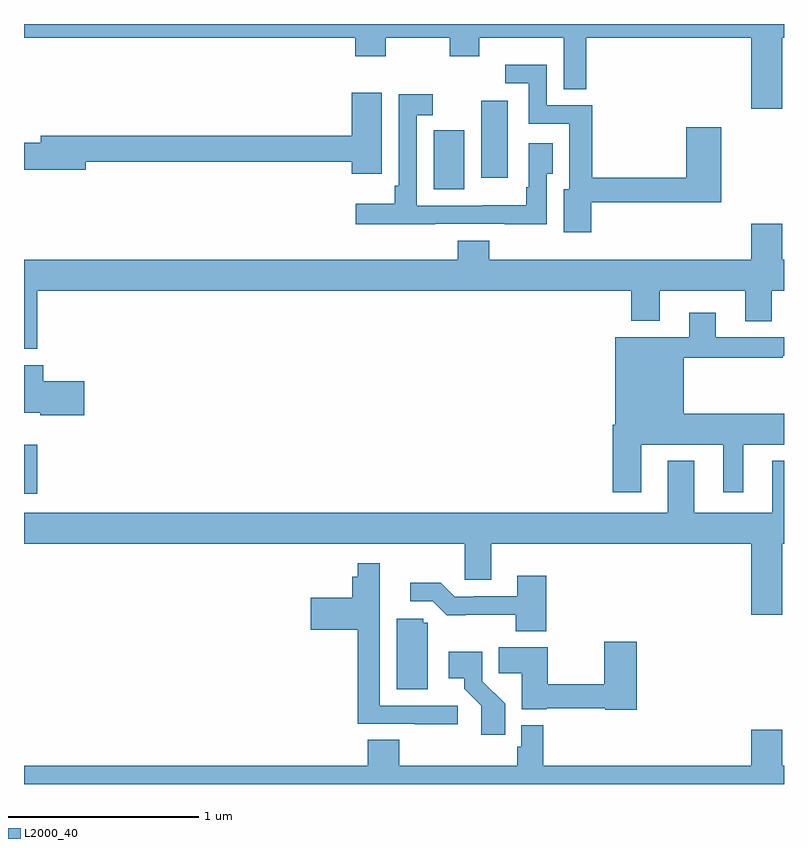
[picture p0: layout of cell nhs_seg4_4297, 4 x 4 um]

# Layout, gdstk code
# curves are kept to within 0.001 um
import gdstk
lib = gdstk.Library(unit=1e-6, precision=1e-09)
def R(c, l, rs):  # rectangles x0, y0, x1, y1
    for r in rs: c.add(gdstk.rectangle(r[:2], r[2:], *l))
def P(c, l, *ps):  # polygons
    for p in ps: c.add(gdstk.Polygon(p, *l))
L2000_40 = (2000, 40)

nhs_seg4_4297 = lib.new_cell('nhs_seg4_4297')
R(nhs_seg4_4297, L2000_40, [(341,786.428,341.071,786.685), (343.157,788.029,343.318,788.34), (343.406,788.091,343.546,788.497)])
P(nhs_seg4_4297, L2000_40, [(344.992,788.828),(345,788.828),(345,788.9),(341,788.9),(341,788.828),(342.743,788.828),(342.743,788.729),(342.903,788.729),(342.903,788.828),(343.24,788.828),(343.24,788.729),(343.395,788.729),(343.395,788.828),(343.841,788.828),(343.841,788.557),(343.96,788.557),(343.96,788.828),(344.828,788.828),(344.828,788.454),(344.992,788.454)],
  [(343.985,787.962),(344.669,787.962),(344.669,788.356),(344.486,788.356),(344.486,788.09),(343.99,788.09),(343.99,788.472),(343.752,788.472),(343.752,788.686),(343.533,788.686),(343.533,788.589),(343.656,788.589),(343.656,788.376),(343.871,788.376),(343.871,788.031),(343.841,788.031),(343.841,787.803),(343.985,787.803)],
  [(342.883,788.539),(342.725,788.539),(342.725,788.312),(341.087,788.312),(341.087,788.276),(341,788.276),(341,788.134),(341.326,788.134),(341.326,788.176),(342.725,788.176),(342.725,788.112),(342.883,788.112)],
  [(343.165,787.848),(343.531,787.848),(343.531,787.847),(343.752,787.847),(343.752,788.113),(343.783,788.113),(343.783,788.272),(343.656,788.272),(343.656,788.041),(343.644,788.041),(343.644,787.945),(343.414,787.945),(343.414,787.944),(343.068,787.944),(343.068,788.421),(343.15,788.421),(343.15,788.53),(342.972,788.53),(342.972,788.05),(342.952,788.05),(342.952,787.954),(342.747,787.954),(342.747,787.847),(343.165,787.847)],
  [(341.069,787.496),(344.195,787.496),(344.195,787.337),(344.347,787.337),(344.347,787.496),(344.795,787.496),(344.795,787.336),(344.935,787.336),(344.935,787.496),(345,787.496),(345,787.66),(344.992,787.66),(344.992,787.849),(344.828,787.849),(344.828,787.66),(343.448,787.66),(343.448,787.759),(343.283,787.759),(343.283,787.66),(341,787.66),(341,787.19),(341.069,787.19)],
  [(344.248,786.686),(344.681,786.686),(344.681,786.435),(344.785,786.435),(344.785,786.686),(345,786.686),(345,786.85),(344.473,786.85),(344.473,787.143),(344.993,787.143),(344.993,787.155),(345,787.155),(345,787.251),(344.641,787.251),(344.641,787.381),(344.501,787.381),(344.501,787.252),(344.111,787.252),(344.111,786.79),(344.099,786.79),(344.099,786.435),(344.248,786.435)],
  [(341.317,787.02),(341.102,787.02),(341.102,787.105),(341,787.105),(341,786.854),(341.085,786.854),(341.085,786.842),(341.317,786.842)],
  [(344.992,786.164),(345,786.164),(345,786.601),(344.939,786.601),(344.939,786.328),(344.527,786.328),(344.527,786.601),(344.387,786.601),(344.387,786.328),(341,786.328),(341,786.164),(343.32,786.164),(343.32,785.974),(343.459,785.974),(343.459,786.164),(344.828,786.164),(344.828,785.79),(344.992,785.79)],
  [(343.282,785.313),(342.873,785.313),(342.873,786.061),(342.757,786.061),(342.757,785.992),(342.728,785.992),(342.728,785.881),(342.51,785.881),(342.51,785.711),(342.757,785.711),(342.757,785.217),(343.057,785.217),(343.057,785.215),(343.282,785.215)],
  [(343.748,785.995),(343.595,785.995),(343.595,785.889),(343.366,785.889),(343.366,785.886),(343.266,785.886),(343.193,785.959),(343.032,785.959),(343.032,785.862),(343.152,785.862),(343.225,785.789),(343.588,785.79),(343.588,785.705),(343.748,785.705)],
  [(343.126,785.748),(343.101,785.748),(343.101,785.769),(342.962,785.769),(342.962,785.4),(343.126,785.4)],
  [(344.225,785.65),(344.054,785.65),(344.054,785.426),(343.756,785.426),(343.756,785.62),(343.498,785.62),(343.498,785.482),(343.619,785.482),(343.619,785.294),(343.752,785.294),(343.752,785.298),(344.058,785.298),(344.058,785.29),(344.225,785.29)],
  [(343.532,785.322),(343.413,785.441),(343.413,785.596),(343.236,785.596),(343.236,785.456),(343.316,785.456),(343.316,785.401),(343.407,785.311),(343.407,785.16),(343.532,785.16)],
  [(345,784.996),(344.992,784.996),(344.992,785.185),(344.828,785.185),(344.828,784.996),(343.733,784.996),(343.733,785.209),(343.617,785.209),(343.617,785.097),(343.597,785.097),(343.597,784.996),(342.974,784.996),(342.974,785.132),(342.809,785.132),(342.809,784.996),(341,784.996),(341,784.9),(345,784.9)])

lib.write_gds('nhs_seg4_4297.gds')
